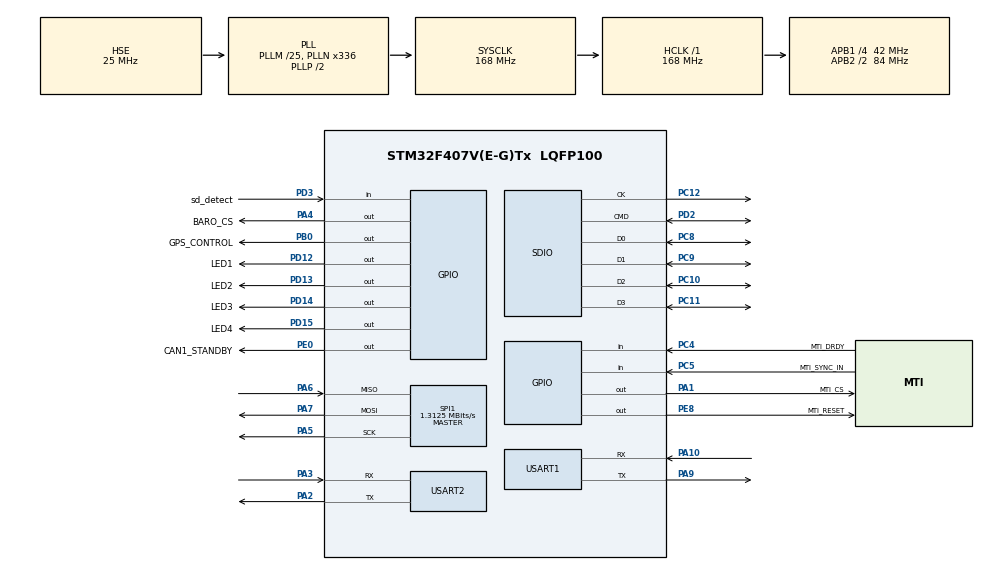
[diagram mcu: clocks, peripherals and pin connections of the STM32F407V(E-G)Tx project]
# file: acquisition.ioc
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Dma.Request0=SDIO_RX
Dma.Request1=SDIO_TX
Dma.SDIO_RX.0.Direction=DMA_PERIPH_TO_MEMORY
Dma.SDIO_RX.0.FIFOMode=DMA_FIFOMODE_ENABLE
Dma.SDIO_RX.0.FIFOThreshold=DMA_FIFO_THRESHOLD_FULL
Dma.SDIO_RX.0.Instance=DMA2_Stream3
Dma.SDIO_RX.0.MemBurst=DMA_MBURST_SINGLE
Dma.SDIO_RX.0.MemDataAlignment=DMA_MDATAALIGN_BYTE
Dma.SDIO_RX.0.MemInc=DMA_MINC_ENABLE
Dma.SDIO_RX.0.Mode=DMA_PFCTRL
Dma.SDIO_RX.0.PeriphBurst=DMA_PBURST_INC4
Dma.SDIO_RX.0.PeriphDataAlignment=DMA_PDATAALIGN_WORD
Dma.SDIO_RX.0.PeriphInc=DMA_PINC_DISABLE
Dma.SDIO_RX.0.Priority=DMA_PRIORITY_VERY_HIGH
Dma.SDIO_TX.1.Direction=DMA_MEMORY_TO_PERIPH
Dma.SDIO_TX.1.FIFOMode=DMA_FIFOMODE_ENABLE
Dma.SDIO_TX.1.FIFOThreshold=DMA_FIFO_THRESHOLD_FULL
Dma.SDIO_TX.1.Instance=DMA2_Stream6
Dma.SDIO_TX.1.MemBurst=DMA_MBURST_SINGLE
Dma.SDIO_TX.1.MemDataAlignment=DMA_MDATAALIGN_BYTE
Dma.SDIO_TX.1.MemInc=DMA_MINC_ENABLE
Dma.SDIO_TX.1.Mode=DMA_PFCTRL
Dma.SDIO_TX.1.PeriphBurst=DMA_PBURST_INC4
Dma.SDIO_TX.1.PeriphDataAlignment=DMA_PDATAALIGN_WORD
Dma.SDIO_TX.1.PeriphInc=DMA_PINC_DISABLE
Dma.SDIO_TX.1.Priority=DMA_PRIORITY_VERY_HIGH
FATFS.BSP.number=1
FATFS.USE_DMA_CODE_SD=1
FATFS._FS_NORTC=0
FATFS._MAX_SS=4096
FATFS0.BSP.STBoard=false
FATFS0.BSP.api=Unknown
FATFS0.BSP.i2caddr=0
FATFS0.BSP.instance=PD3
FATFS0.BSP.ip=GPIO
FATFS0.BSP.mode=Input
FATFS0.BSP.name=Detect_SDIO
FATFS0.BSP.solution=PD3
Mcu.Family=STM32F4
Mcu.Name=STM32F407V(E-G)Tx
Mcu.Package=LQFP100
NVIC.DMA2_Stream3_IRQn=true\:5\:0\:true\:false\:true\:false\:true
NVIC.DMA2_Stream6_IRQn=true\:5\:0\:true\:false\:true\:false\:true
NVIC.PriorityGroup=NVIC_PRIORITYGROUP_4
NVIC.SDIO_IRQn=true\:5\:0\:true\:false\:true\:true\:true
NVIC.TIM1_UP_TIM10_IRQn=true\:0\:0\:false\:false\:true\:false\:true
NVIC.TimeBase=TIM1_UP_TIM10_IRQn
NVIC.TimeBaseIP=TIM1
NVIC.USART1_IRQn=true\:5\:0\:true\:false\:true\:true\:false
NVIC.USART2_IRQn=true\:5\:0\:true\:false\:true\:true\:false
PA1.GPIO_Label=MTI_CS
PA1.PinState=GPIO_PIN_SET
PA1.Signal=GPIO_Output
PA10.Mode=Asynchronous
PA10.Signal=USART1_RX
PA13.Mode=Trace_Asynchronous_SW
PA13.Signal=SYS_JTMS-SWDIO
PA14.Mode=Trace_Asynchronous_SW
PA14.Signal=SYS_JTCK-SWCLK
PA2.Mode=Asynchronous
PA2.Signal=USART2_TX
PA3.Mode=Asynchronous
PA3.Signal=USART2_RX
PA4.GPIO_Label=BARO_CS
PA4.Signal=GPIO_Output
PA5.Mode=Full_Duplex_Master
PA5.Signal=SPI1_SCK
PA6.Mode=Full_Duplex_Master
PA6.Signal=SPI1_MISO
PA7.Mode=Full_Duplex_Master
PA7.Signal=SPI1_MOSI
PA9.Mode=Asynchronous
PA9.Signal=USART1_TX
PB0.GPIO_Label=GPS_CONTROL
PB0.Signal=GPIO_Output
PB3.Mode=Trace_Asynchronous_SW
PB3.Signal=SYS_JTDO-SWO
PC10.GPIO_PuPd=GPIO_PULLUP
PC10.Mode=SD_4_bits_Wide_bus
PC10.Signal=SDIO_D2
PC11.GPIO_PuPd=GPIO_PULLUP
PC11.Mode=SD_4_bits_Wide_bus
PC11.Signal=SDIO_D3
PC12.GPIO_PuPd=GPIO_PULLUP
PC12.Mode=SD_4_bits_Wide_bus
PC12.Signal=SDIO_CK
PC14-OSC32_IN.Mode=LSE-External-Oscillator
PC14-OSC32_IN.Signal=RCC_OSC32_IN
PC15-OSC32_OUT.Mode=LSE-External-Oscillator
PC15-OSC32_OUT.Signal=RCC_OSC32_OUT
PC4.GPIO_Label=MTI_DRDY
PC4.Signal=GPIO_Input
PC5.GPIO_Label=MTI_SYNC_IN
PC5.Signal=GPIO_Input
PC8.GPIO_PuPd=GPIO_PULLUP
PC8.Mode=SD_4_bits_Wide_bus
PC8.Signal=SDIO_D0
PC9.GPIO_PuPd=GPIO_PULLUP
PC9.Mode=SD_4_bits_Wide_bus
PC9.Signal=SDIO_D1
PD12.GPIO_Label=LED1
PD12.Signal=GPIO_Output
PD13.GPIO_Label=LED2
PD13.Signal=GPIO_Output
PD14.GPIO_Label=LED3
PD14.Signal=GPIO_Output
PD15.GPIO_Label=LED4
PD15.Signal=GPIO_Output
PD2.GPIO_PuPd=GPIO_PULLUP
PD2.Mode=SD_4_bits_Wide_bus
PD2.Signal=SDIO_CMD
PD3.GPIO_Label=sd_detect
PD3.GPIO_ModeDefaultEXTI=GPIO_MODE_IT_RISING_FALLING
PD3.GPIO_PuPd=GPIO_PULLDOWN
PD3.Signal=GPIO_Input
PD3.Stacked=true
PE0.GPIO_Label=CAN1_STANDBY
PE0.Signal=GPIO_Output
PE8.GPIO_Label=MTI_RESET
PE8.Signal=GPIO_Output
PH0-OSC_IN.Mode=HSE-External-Clock-Source
PH0-OSC_IN.Signal=RCC_OSC_IN
PH1-OSC_OUT.Mode=HSE-External-Clock-Source
PH1-OSC_OUT.Signal=RCC_OSC_OUT
ProjectManager.HeapSize=0x200
ProjectManager.StackSize=0x400
ProjectManager.TargetToolchain=Makefile
RCC.48MHZClocksFreq_Value=48000000
RCC.AHBCLKDivider=RCC_SYSCLK_DIV1
RCC.AHBFreq_Value=168000000
RCC.APB1CLKDivider=RCC_HCLK_DIV4
RCC.APB1Freq_Value=42000000
RCC.APB1TimFreq_Value=84000000
RCC.APB2CLKDivider=RCC_HCLK_DIV2
RCC.APB2Freq_Value=84000000
RCC.APB2TimFreq_Value=168000000
RCC.CortexFreq_Value=168000000
RCC.Cortex_Div=SYSTICK_CLKSOURCE_HCLK
RCC.HCLKFreq_Value=168000000
RCC.HSE_VALUE=25000000
RCC.HSI_VALUE=16000000
RCC.PLLM=25
RCC.PLLN=336
RCC.PLLP=RCC_PLLP_DIV2
RCC.PLLQ=7
RCC.PLLSourceVirtual=RCC_PLLSOURCE_HSE
RCC.RCC_MCODiv1=RCC_MCODIV_1
RCC.RCC_MCODiv2=RCC_MCODIV_1
RCC.RCC_RTC_Clock_SourceVirtual=RCC_RTCCLKSOURCE_LSE
RCC.RCC_RTC_Clock_Source_FROM_HSE=RCC_RTCCLKSOURCE_HSE_DIV2
RCC.SYSCLKFreq_VALUE=168000000
RCC.SYSCLKSource=RCC_SYSCLKSOURCE_PLLCLK
RCC.VCOOutputFreq_Value=336000000
RTC.Alarm=RTC_ALARM_A
SDIO.ClockBypass=SDIO_CLOCK_BYPASS_DISABLE
SDIO.ClockEdge=SDIO_CLOCK_EDGE_RISING
SDIO.ClockPowerSave=SDIO_CLOCK_POWER_SAVE_DISABLE
SDIO.HardwareFlowControl=SDIO_HARDWARE_FLOW_CONTROL_DISABLE
SDIO.WideMode=SDIO_BUS_WIDE_4B
SPI1.BaudRatePrescaler=SPI_BAUDRATEPRESCALER_64
SPI1.CLKPhase=SPI_PHASE_2EDGE
SPI1.CLKPolarity=SPI_POLARITY_HIGH
SPI1.CalculateBaudRate=1.3125 MBits/s
SPI1.Direction=SPI_DIRECTION_2LINES
SPI1.Mode=SPI_MODE_MASTER
SPI1.VirtualType=VM_MASTER
USART1.VirtualMode=VM_ASYNC
USART2.VirtualMode=VM_ASYNC
VP_FATFS_VS_SDIO.Mode=SDIO
VP_RTC_VS_RTC_Activate.Mode=RTC_Enabled
VP_RTC_VS_RTC_Alarm_A_Intern.Mode=Alarm A
VP_RTC_VS_RTC_Calendar.Mode=RTC_Calendar
VP_SYS_VS_tim1.Mode=TIM1
board=SGP_Project

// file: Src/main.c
/* USER CODE BEGIN Header */
/**
  ******************************************************************************
  * @file           : main.c
  * @brief          : Main program body
  ******************************************************************************
  * @attention
  *
  * <h2><center>&copy; Copyright (c) 2019 STMicroelectronics.
  * All rights reserved.</center></h2>
  *
  * This software component is licensed by ST under Ultimate Liberty license
  * SLA0044, the "License"; You may not use this file except in compliance with
  * the License. You may obtain a copy of the License at:
  *                             www.st.com/SLA0044
  *
  ******************************************************************************
  */
/* USER CODE END Header */

#include "main.h"
#include "dma.h"
#include "fatfs.h"
#include "rtc.h"
#include "sdio.h"
#include "spi.h"
#include "usart.h"
#include "gpio.h"

/* USER CODE BEGIN Includes */

#include "../../shared/app/blink.h"
#include "../../shared/app/sd.h"
#include "mti.h"
#include "altitude.h"

#include "../../shared/bsp/bsp_can.h"

SemaphoreHandle_t xSemaphoreDRDY = NULL;
StaticSemaphore_t xSemaphoreDRDYBuffer;

SemaphoreHandle_t xSemaphoreSPI = NULL;
StaticSemaphore_t xMutexSPIBuffer;

/* USER CODE END Includes */

/* USER CODE BEGIN PV */
extern canInstance_t can1Instance;
/* USER CODE END PV */

void SystemClock_Config(void);
/* USER CODE BEGIN PFP */
uint32_t can_init();
/* USER CODE END PFP */

/* USER CODE BEGIN 0 */

/* TASK BLINK*/
#define APP_BLINK_NAME "BLINK"
#define APP_BLINK_PRIORITY 0
#define APP_BLINK_SIZE 192
StaticTask_t APP_BLINK_BUFFER;
StackType_t APP_BLINK_STACK[ APP_BLINK_SIZE ];

/* TASK SD*/
#define APP_SD_NAME "SD"
#define APP_SD_PRIORITY 0
#define APP_SD_SIZE 1000
StaticTask_t APP_SD_BUFFER;
StackType_t APP_SD_STACK[ APP_SD_SIZE ];

/* TASK MTI*/
#define APP_MTI_NAME "MTI"
#define APP_MTI_PRIORITY 0
#define APP_MTI_SIZE 1000
StaticTask_t APP_MTI_BUFFER;
StackType_t APP_MTI_STACK[ APP_MTI_SIZE ];

/* TASK ALTITUDE*/
#define APP_ALT_NAME "ALT"
#define APP_ALT_PRIORITY 0
#define APP_ALT_SIZE 1000
StaticTask_t APP_ALT_BUFFER;
StackType_t APP_ALT_STACK[ APP_ALT_SIZE ];

/* USER CODE END 0 */

int main(void)
{

  /* MCU Configuration--------------------------------------------------------*/

  /* Reset of all peripherals, Initializes the Flash interface and the Systick. */
  HAL_Init();

  /* Configure the system clock */
  SystemClock_Config();

  /* Initialize all configured peripherals */
  MX_GPIO_Init();
  MX_DMA_Init();
  MX_RTC_Init();
  MX_SDIO_SD_Init();
  MX_USART1_UART_Init();
  MX_SPI1_Init();
  MX_USART2_UART_Init();
  MX_FATFS_Init();
  /* USER CODE BEGIN 2 */
  HAL_GPIO_WritePin(CAN1_STANDBY_GPIO_Port, CAN1_STANDBY_Pin, GPIO_PIN_RESET);

  config_mti();
  config_altitude();

  /* FREERTOS TASK CREATION */

	//Create binary semaphore for DRDY interrupt request
	xSemaphoreDRDY = xSemaphoreCreateBinaryStatic( &xSemaphoreDRDYBuffer );
	configASSERT( xSemaphoreDRDY );

	xSemaphoreSPI = xSemaphoreCreateMutexStatic( &xMutexSPIBuffer );
	configASSERT( xSemaphoreSPI );

  TaskHandle_t xHandle = NULL;

  /* Create the task without using any dynamic memory allocation. */
  xHandle = xTaskCreateStatic(
           task_blink,       /* Function that implements the task. */
           APP_BLINK_NAME,          /* Text name for the task. */
		   APP_BLINK_SIZE,      /* Number of indexes in the xStack array. */
           ( void * ) NULL,    /* Parameter passed into the task. */
           APP_BLINK_PRIORITY,/* Priority at which the task is created. */
		   APP_BLINK_STACK,          /* Array to use as the task's stack. */
           &APP_BLINK_BUFFER );  /* Variable to hold the task's data structure. */

  xHandle = xTaskCreateStatic(
           task_sd,
           APP_SD_NAME,
		   APP_SD_SIZE,
           ( void * ) NULL,
           APP_SD_PRIORITY,
		   APP_SD_STACK,
           &APP_SD_BUFFER );

  xHandle = xTaskCreateStatic(
           task_mti,
           APP_MTI_NAME,
		   APP_MTI_SIZE,
           ( void * ) NULL,
           APP_MTI_PRIORITY,
		   APP_MTI_STACK,
           &APP_MTI_BUFFER );

  xHandle = xTaskCreateStatic(
           task_altitude,
           APP_ALT_NAME,
		   APP_ALT_SIZE,
           ( void * ) NULL,
           APP_ALT_PRIORITY,
		   APP_ALT_STACK,
           &APP_ALT_BUFFER );

  while(HAL_GPIO_ReadPin(sd_detect_GPIO_Port, sd_detect_Pin)){

	  HAL_Delay(5000);

  }

	/* Start the scheduler. */
	vTaskStartScheduler();

  /* USER CODE END 2 */

  /* Infinite loop */
  while (1)
  {

  }
}

void SystemClock_Config(void)
{
  RCC_OscInitTypeDef RCC_OscInitStruct = {0};
  RCC_ClkInitTypeDef RCC_ClkInitStruct = {0};
  RCC_PeriphCLKInitTypeDef PeriphClkInitStruct = {0};

  /** Configure the main internal regulator output voltage
  */
  __HAL_RCC_PWR_CLK_ENABLE();
  __HAL_PWR_VOLTAGESCALING_CONFIG(PWR_REGULATOR_VOLTAGE_SCALE1);
  /** Initializes the CPU, AHB and APB busses clocks
  */
  RCC_OscInitStruct.OscillatorType = RCC_OSCILLATORTYPE_HSE|RCC_OSCILLATORTYPE_LSE;
  RCC_OscInitStruct.HSEState = RCC_HSE_BYPASS;
  RCC_OscInitStruct.LSEState = RCC_LSE_ON;
  RCC_OscInitStruct.PLL.PLLState = RCC_PLL_ON;
  RCC_OscInitStruct.PLL.PLLSource = RCC_PLLSOURCE_HSE;
  RCC_OscInitStruct.PLL.PLLM = 25;
  RCC_OscInitStruct.PLL.PLLN = 336;
  RCC_OscInitStruct.PLL.PLLP = RCC_PLLP_DIV2;
  RCC_OscInitStruct.PLL.PLLQ = 7;
  if (HAL_RCC_OscConfig(&RCC_OscInitStruct) != HAL_OK)
  {
    Error_Handler();
  }
  /** Initializes the CPU, AHB and APB busses clocks
  */
  RCC_ClkInitStruct.ClockType = RCC_CLOCKTYPE_HCLK|RCC_CLOCKTYPE_SYSCLK
                              |RCC_CLOCKTYPE_PCLK1|RCC_CLOCKTYPE_PCLK2;
  RCC_ClkInitStruct.SYSCLKSource = RCC_SYSCLKSOURCE_PLLCLK;
  RCC_ClkInitStruct.AHBCLKDivider = RCC_SYSCLK_DIV1;
  RCC_ClkInitStruct.APB1CLKDivider = RCC_HCLK_DIV4;
  RCC_ClkInitStruct.APB2CLKDivider = RCC_HCLK_DIV2;

  if (HAL_RCC_ClockConfig(&RCC_ClkInitStruct, FLASH_LATENCY_5) != HAL_OK)
  {
    Error_Handler();
  }
  PeriphClkInitStruct.PeriphClockSelection = RCC_PERIPHCLK_RTC;
  PeriphClkInitStruct.RTCClockSelection = RCC_RTCCLKSOURCE_LSE;
  if (HAL_RCCEx_PeriphCLKConfig(&PeriphClkInitStruct) != HAL_OK)
  {
    Error_Handler();
  }
}

/* USER CODE BEGIN 4 */
void HAL_GPIO_EXTI_Callback(uint16_t GPIO_Pin)
{

	GPIO_PinState sdState;

    if (GPIO_Pin == sd_detect_Pin) {

    	sdState = HAL_GPIO_ReadPin(sd_detect_GPIO_Port, sd_detect_Pin);
    	HAL_GPIO_WritePin(LED1_GPIO_Port, LED1_Pin, ~sdState);

    }else if(GPIO_Pin == MTI_DRDY_Pin){

    	xSemaphoreGiveFromISR( xSemaphoreDRDY, NULL );

    }
}

void EXTI4_IRQHandler(void)
{
	HAL_GPIO_EXTI_IRQHandler(MTI_DRDY_Pin);
}

void EXTI3_IRQHandler(void)
{
	HAL_GPIO_EXTI_IRQHandler(sd_detect_Pin);
}

uint32_t can_init()
{
    can1Instance.instance = CAN1;
    can1Instance.debugFreeze = 0;
    can1Instance.opMode = normal;
    can1Instance.baudPrescaler = 3;
    can1Instance.timeQuanta1 = 14;
    can1Instance.timeQuanta2 = 11;
    can1Instance.timeReSync = 2;

    canInit(&can1Instance);
    //init interruption for fan 1 fifo 0
    can1Fifo0InitIt(&can1Instance);
    can1Fifo0RegisterCallback(can_regUpdateCallback);

    //init filters for boards
    canFilter_t filter = {0};

    filter.mask11.mask0 = BOARD_ID_MASK;
    filter.mask11.ID0 = BOARD_EMERGENCY_ID_SHIFTED;
    filter.mask11.mask1 = BOARD_ID_MASK;
    filter.mask11.ID1 = BOARD_MISSION_ID_SHIFTED;
    canSetFilter(&can1Instance, &filter,mask11Bit, 0, 0);

    filter.mask11.mask0 = BOARD_ID_MASK;
    filter.mask11.ID0 = BOARD_COMMUNICATION_ID_SHIFTED;
    filter.mask11.mask1 = BOARD_ID_MASK;
    filter.mask11.ID1 = BOARD_COMMUNICATION_ID_SHIFTED;
    canSetFilter(&can1Instance, &filter,mask11Bit, 1, 0);

    NVIC_SetPriority(20, 10);
    return 0;
}
/* USER CODE END 4 */

void HAL_TIM_PeriodElapsedCallback(TIM_HandleTypeDef *htim)
{
  if (htim->Instance == TIM1) {
    HAL_IncTick();
  }
}

void Error_Handler(void)
{
}

/************************ (C) COPYRIGHT STMicroelectronics *****END OF FILE****/

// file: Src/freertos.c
#include "main.h"

/* configSUPPORT_STATIC_ALLOCATION is set to 1, so the application must provide an
implementation of vApplicationGetIdleTaskMemory() to provide the memory that is
used by the Idle task. */
void vApplicationGetIdleTaskMemory( StaticTask_t **ppxIdleTaskTCBBuffer,
                                    StackType_t **ppxIdleTaskStackBuffer,
                                    uint32_t *pulIdleTaskStackSize )
{
/* If the buffers to be provided to the Idle task are declared inside this
function then they must be declared static – otherwise they will be allocated on
the stack and so not exists after this function exits. */
static StaticTask_t xIdleTaskTCB;
static StackType_t uxIdleTaskStack[ configMINIMAL_STACK_SIZE ];

    /* Pass out a pointer to the StaticTask_t structure in which the Idle task’s
    state will be stored. */
    *ppxIdleTaskTCBBuffer = &xIdleTaskTCB;

    /* Pass out the array that will be used as the Idle task’s stack. */
    *ppxIdleTaskStackBuffer = uxIdleTaskStack;

    /* Pass out the size of the array pointed to by *ppxIdleTaskStackBuffer.
    Note that, as the array is necessarily of type StackType_t,
    configMINIMAL_STACK_SIZE is specified in words, not bytes. */
    *pulIdleTaskStackSize = configMINIMAL_STACK_SIZE;
}
